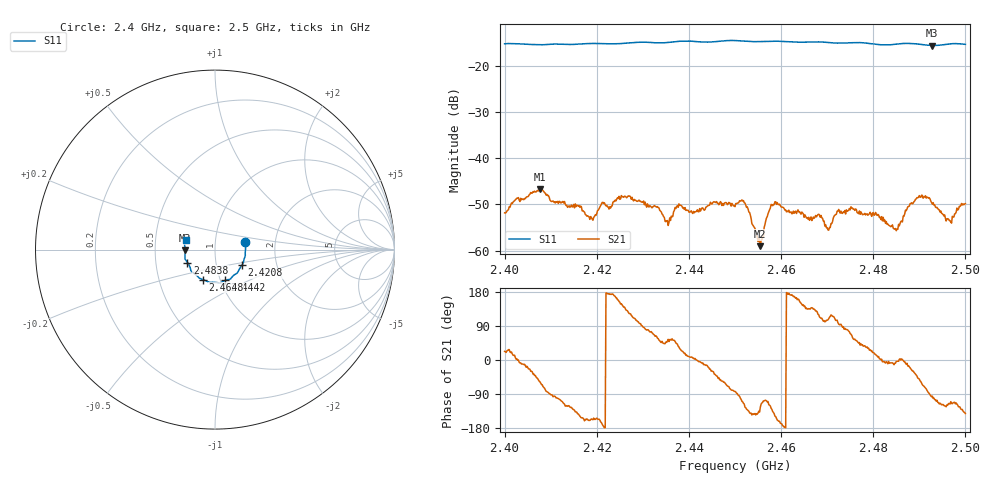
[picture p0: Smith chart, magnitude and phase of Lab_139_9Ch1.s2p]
# Hz S RI R 50
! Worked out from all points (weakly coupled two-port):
!   601 points, 2.4 GHz to 2.5 GHz, reference 50 ohm
!   highest |S21| = -46.71 dB at 2.4077 GHz (marker M1); lowest = -59.0 dB at 2.4555 GHz (marker M2)
!   lowest |S11| = -15.6 dB at 2.4928 GHz (marker M3), VSWR 1.40, Z = 35.8 - j0.359 ohm
!   |S11| at or under -10 dB: start of sweep to end of sweep
!   S12 and S22 are empty: the file has one direction only
!   S11 on the Smith chart (normalised r, x): 2.4 GHz: 1.40, +0.12; 2.4208 GHz: 1.33, -0.24; 2.4442 GHz: 1.05, -0.37; 2.4648 GHz: 0.83, -0.29; 2.4838 GHz: 0.73, -0.11; 2.5 GHz: 0.72, +0.08
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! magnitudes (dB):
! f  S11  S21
! 2.4 GHz  -15.2  -51.8
! 2.4077 GHz  -15.4  -46.7
! 2.4167 GHz  -15.2  -50.5
! 2.4208 GHz  -15.2  -50.3
! 2.4333 GHz  -15.0  -50.7
! 2.4353 GHz  -15.0  -53.5
! 2.4378 GHz  -14.7  -49.9
! 2.4442 GHz  -14.9  -50.2
! 2.45 GHz  -14.5  -50.5
! 2.4522 GHz  -14.7  -49.7
! 2.4555 GHz  -14.8  -59.0
! 2.4583 GHz  -14.7  -50.0
! 2.4648 GHz  -14.9  -52.0
! 2.4667 GHz  -14.8  -53.5
! 2.4703 GHz  -15.0  -55.6
! 2.4753 GHz  -15.0  -50.8
! 2.4833 GHz  -15.5  -54.5
! 2.4838 GHz  -15.4  -54.8
! 2.4897 GHz  -15.3  -48.5
! 2.4928 GHz  -15.6  -49.9
! 2.4965 GHz  -15.3  -53.5
! 2.5 GHz  -15.4  -49.8
